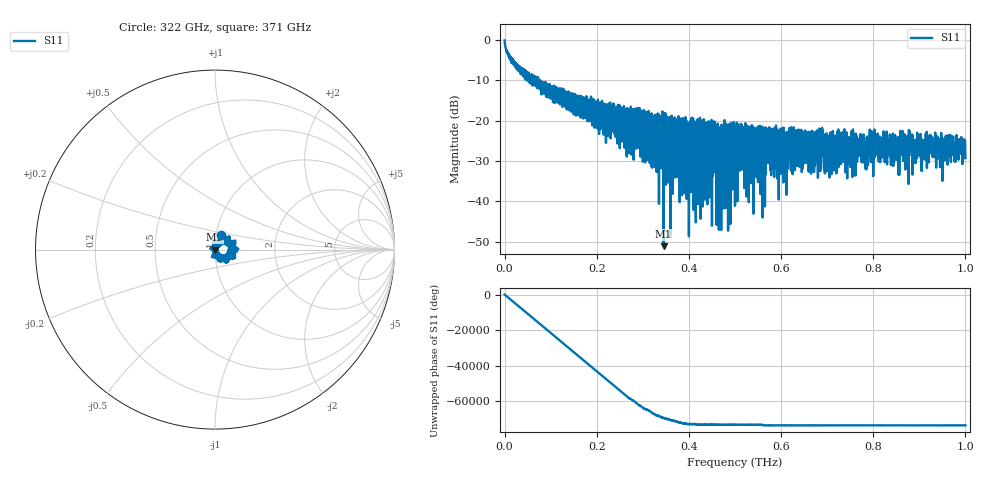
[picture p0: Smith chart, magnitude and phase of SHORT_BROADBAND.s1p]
! Fixture THz termine par un SHORT ideal : ligne Zc=55 ohm, delai=300 ps, pertes 2.0 dB @10 GHz (~sqrt(f)), eps_r_eff=3.0 -> 51.93 mm, Z0=50 ohm ; 0.010 - 1000 GHz, pas 500 MHz, 2001 points, bruit -40 dB
! Frequency(Hz) Re(S11) Im(S11)
# Hz S RI R 50
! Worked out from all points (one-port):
!   2001 points, 10 MHz to 1 THz, reference 50 ohm
!   lowest |S11| = -51.1 dB at 345 GHz (marker M1), VSWR 1.01, Z = 49.7 - j0.117 ohm
!   |S11| at or under -10 dB: 69.38 GHz to 70.76 GHz (1.375 GHz wide, 1.96 % of centre); 72.67 GHz to 75.9 GHz (3.229 GHz wide, 4.35 % of centre); 76.04 GHz to end of sweep (the widest 3 of 16)
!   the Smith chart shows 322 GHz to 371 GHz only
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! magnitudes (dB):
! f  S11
! 10 MHz  -0.1
! 12.01 GHz  -4.7
! 40.01 GHz  -8.8
! 125 GHz  -16.6
! 250 GHz  -26.8
! 312.5 GHz  -17.6
! 345 GHz  -51.1
! 375 GHz  -33.9
! 392.5 GHz  -19.1
! 400 GHz  -48.6
! 409 GHz  -19.4
! 425 GHz  -44.3
! 452.5 GHz  -20.5
! 465 GHz  -47.0
! 477.5 GHz  -19.8
! 485 GHz  -47.3
! 497.5 GHz  -20.3
! 500 GHz  -41.1
! 511 GHz  -22.3
! 525 GHz  -38.8
! 549.5 GHz  -21.4
! 560 GHz  -44.0
! 571 GHz  -22.6
! 625 GHz  -33.2
! 750 GHz  -31.4
! 875 GHz  -28.1
! 988 GHz  -26.3
! 1 THz  -29.3
